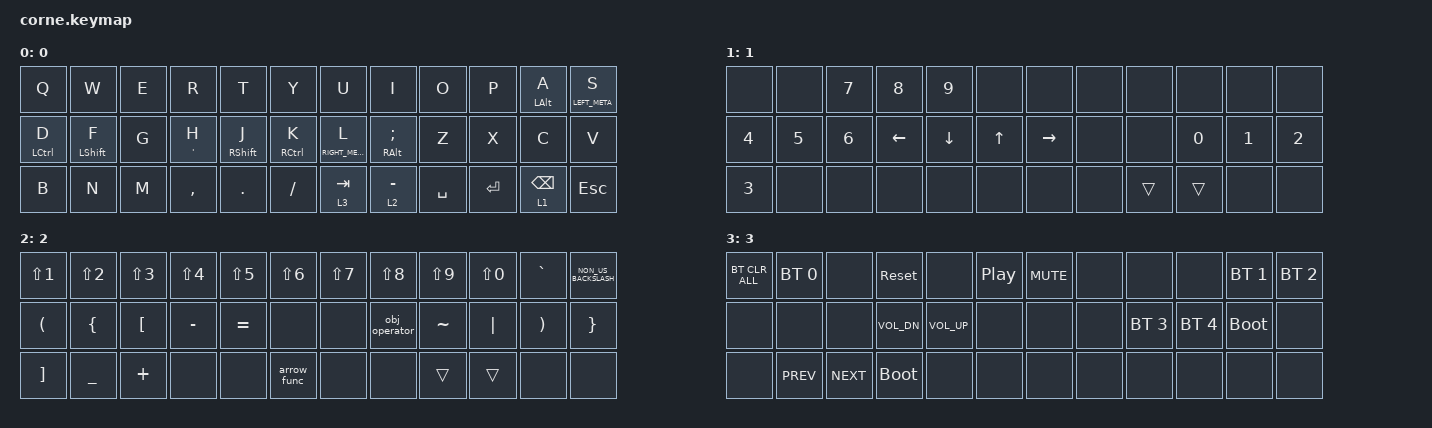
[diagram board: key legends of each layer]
/*
 * Copyright (c) 2020 The ZMK Contributors
 *
 * SPDX-License-Identifier: MIT
 */

#include <behaviors.dtsi>
#include <dt-bindings/zmk/bt.h>
#include <dt-bindings/zmk/keys.h>

#define DEFAULT_L 0
#define SYMBOLS_L 1
#define ARROWS_L  2
#define NUMBERS_L 3

/ {
    chosen { zmk,matrix-transform = &five_column_transform; };
};


/ {
    behaviors {
        hm: homerow_mods {
            compatible = "zmk,behavior-hold-tap";
            label = "HOMEROW_MODS";
            #binding-cells = <2>;
            tapping-term-ms = <200>;
            quick-tap-ms = <200>;
            flavor = "tap-preferred";
            bindings = <&kp>, <&kp>;
        };

        y_capsword: y_capsword {
            compatible = "zmk,behavior-hold-tap";
            label = "Y_CAPSWORD";
            bindings = <&caps_word>, <&kp>;

            #binding-cells = <2>;
            tapping-term-ms = <200>;
            flavor = "tap-preferred";
            hold-trigger-key-positions = <5>;
        };
    };

    macros {
        arrow_func: arrow_func {
            compatible = "zmk,behavior-macro";
            #binding-cells = <0>;
            bindings = <&kp EQUAL &kp GT>;
            label = "ARROW_FUNC";
        };

        obj_operator: obj_operator {
            compatible = "zmk,behavior-macro";
            #binding-cells = <0>;
            bindings = <&kp MINUS &kp GT>;
            label = "OBJ_OPERATOR";
        };
    };

    keymap {
        compatible = "zmk,keymap";

        default_layer {
            label = "0";
            bindings = <
&kp Q               &kp W             &kp E  &kp R      &kp T              &kp Y                      &kp U             &kp I               &kp O      &kp P    &hm LEFT_ALT A   &hm LEFT_META S
&hm LEFT_CONTROL D  &hm LEFT_SHIFT F  &kp G  &hm SQT H  &hm RIGHT_SHIFT J  &hm RIGHT_CONTROL K        &hm RIGHT_META L  &hm RIGHT_ALT SEMI  &kp Z      &kp X    &kp C            &kp V
&kp B               &kp N             &kp M  &kp COMMA  &kp DOT            &kp FSLH                   &lt 3 TAB         &lt 2 MINUS         &kp SPACE  &kp RET  &lt 1 BACKSPACE  &kp ESCAPE
            >;
        };

        number_layer {
            label = "1";
            bindings = <
&none         &none         &kp NUMBER_7  &kp NUMBER_8    &kp NUMBER_9    &none           &none            &none  &none   &none         &none         &none
&kp NUMBER_4  &kp NUMBER_5  &kp NUMBER_6  &kp LEFT_ARROW  &kp DOWN_ARROW  &kp UP_ARROW    &kp RIGHT_ARROW  &none  &none   &kp NUMBER_0  &kp NUMBER_1  &kp NUMBER_2
&kp NUMBER_3  &none         &none         &none           &none           &none           &none            &none  &trans  &trans        &none         &none
            >;
        };

        bt_layer {
            label = "2";
            bindings = <
&kp LS(N1)            &kp LS(N2)      &kp LS(N3)        &kp LS(N4)  &kp LS(N5)  &kp LS(N6)     &kp LS(N7)  &kp LS(N8)     &kp LS(N9)  &kp LS(N0)  &kp GRAVE              &kp NON_US_BACKSLASH
&kp LEFT_PARENTHESIS  &kp LEFT_BRACE  &kp LEFT_BRACKET  &kp MINUS   &kp EQUAL   &none          &none       &obj_operator  &kp TILDE   &kp PIPE    &kp RIGHT_PARENTHESIS  &kp RIGHT_BRACE
&kp RIGHT_BRACKET     &kp UNDERSCORE  &kp PLUS          &none       &none       &arrow_func    &none       &none          &trans      &trans      &none                  &none
            >;
        };

        arrow_layer {
            label = "3";
            bindings = <
&bt BT_CLR_ALL  &bt BT_SEL 0  &none       &sys_reset    &none            &kp C_PP    &kp C_MUTE  &none  &none         &none         &bt BT_SEL 1  &bt BT_SEL 2
&none           &none         &none       &kp C_VOL_DN  &kp C_VOLUME_UP  &none       &none       &none  &bt BT_SEL 3  &bt BT_SEL 4  &bootloader   &none
&none           &kp C_PREV    &kp C_NEXT  &bootloader   &none            &none       &none       &none  &none         &none         &none         &none
            >;
        };
    };
};
